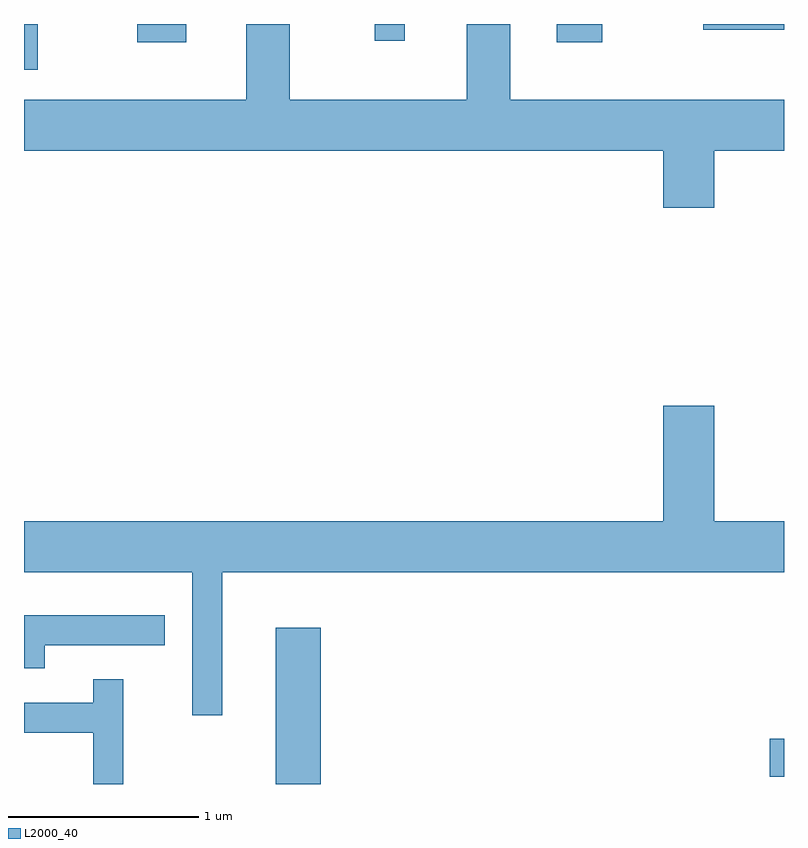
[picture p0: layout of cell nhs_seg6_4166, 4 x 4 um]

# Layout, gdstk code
import gdstk
lib = gdstk.Library(unit=1e-6, precision=1e-09)
def R(c, l, rs):  # rectangles x0, y0, x1, y1
    for r in rs: c.add(gdstk.rectangle(r[:2], r[2:], *l))
def P(c, l, *ps):  # polygons
    for p in ps: c.add(gdstk.Polygon(p, *l))
L2000_40 = (2000, 40)

nhs_seg6_4166 = lib.new_cell('nhs_seg6_4166')
R(nhs_seg6_4166, L2000_40, [(312.936,1642.162,313.174,1642.984), (315.536,1642.201,315.611,1642.399), (311.611,1645.921,311.684,1646.162), (312.206,1646.066,312.464,1646.162), (314.416,1646.066,314.654,1646.162), (313.456,1646.073,313.614,1646.162), (315.186,1646.131,315.611,1646.162)])
P(nhs_seg6_4166, L2000_40, [(315.244,1645.496),(315.611,1645.496),(315.611,1645.764),(314.169,1645.764),(314.169,1646.162),(313.941,1646.162),(313.941,1645.764),(313.009,1645.764),(313.009,1646.162),(312.781,1646.162),(312.781,1645.764),(311.611,1645.764),(311.611,1645.496),(314.976,1645.496),(314.976,1645.196),(315.244,1645.196)],
  [(312.654,1643.276),(315.611,1643.276),(315.611,1643.544),(315.244,1643.544),(315.244,1644.154),(314.976,1644.154),(314.976,1643.544),(311.611,1643.544),(311.611,1643.276),(312.496,1643.276),(312.496,1642.523),(312.654,1642.523)],
  [(311.719,1642.891),(312.353,1642.891),(312.353,1643.049),(311.611,1643.049),(311.611,1642.771),(311.719,1642.771)],
  [(312.134,1642.713),(311.976,1642.713),(311.976,1642.589),(311.611,1642.589),(311.611,1642.431),(311.976,1642.431),(311.976,1642.162),(312.134,1642.162)])

lib.write_gds('nhs_seg6_4166.gds')
